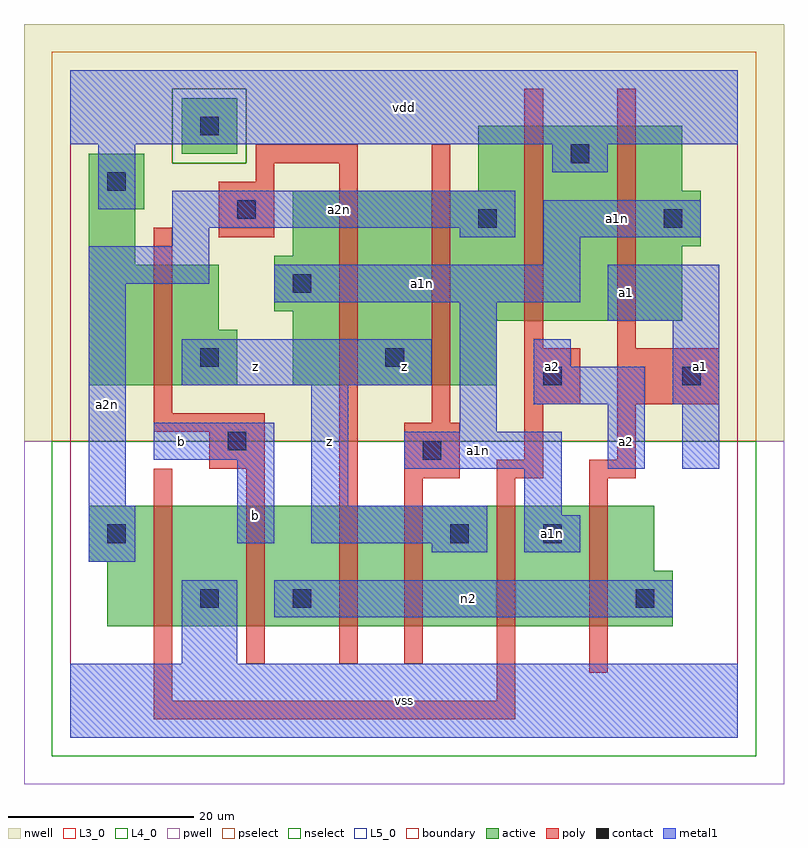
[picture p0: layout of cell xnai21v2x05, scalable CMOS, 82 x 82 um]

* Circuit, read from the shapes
.subckt xnai21v2x05 a1 a1n a2 a2n b n2 vdd vss z
M1 vss a2 a2n VSUBS nfet w=13u l=2u
M2 n2 b vss VSUBS nfet w=13u l=2u
M3 n1 a2n n2 VSUBS nfet w=13u l=2u
M4 z a1n n1 VSUBS nfet w=13u l=2u
M5 a1n a2 z VSUBS nfet w=13u l=2u
M6 n2 a1 a1n VSUBS nfet w=13u l=2u
M7 z b vdd vdd pfet w=13u l=2u
M8 z a2n a1n vdd pfet w=21u l=2u
M9 a2n a1n z vdd pfet w=21u l=2u
M10 vdd a2 a2n vdd pfet w=21u l=2u
M11 a1n a1 vdd vdd pfet w=21u l=2u
.ends

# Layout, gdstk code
import gdstk
lib = gdstk.Library(unit=1e-6, precision=1e-09)
def R(c, l, rs):  # rectangles x0, y0, x1, y1
    for r in rs: c.add(gdstk.rectangle(r[:2], r[2:], *l))
L3_0 = (3, 0)
L4_0 = (4, 0)
L5_0 = (5, 0)
contact = (25, 0)
pwell = (41, 0)
nwell = (42, 0)
active = (43, 0)
pselect = (44, 0)
nselect = (45, 0)
poly = (46, 0)
metal1 = (49, 0)
boundary = (63, 0)

xnai21v2x05 = lib.new_cell('xnai21v2x05')
R(xnai21v2x05, L3_0, [(4,12,65,18), (4,18,63,19), (2,19,63,25)])
R(xnai21v2x05, L4_0, [(2,38,18,44), (24,38,46,45), (2,44,16,51), (24,45,66,46), (22,46,66,52), (2,51,7,57), (24,52,66,53), (24,53,68,59), (2,57,8,63), (44,59,66,66)])
R(xnai21v2x05, L5_0, [(12,63,18,69)])
R(xnai21v2x05, contact, [(14,14,16,16), (24,14,26,16), (61,14,63,16), (4,21,6,23), (41,21,43,23), (51,21,53,23), (38,30,40,32), (17,31,19,33), (51,38,53,40), (66,38,68,40), (14,40,16,42), (34,40,36,42), (24,48,26,50), (44,55,46,57), (64,55,66,57), (18,56,20,58), (4,59,6,61), (54,62,56,64), (14,65,16,67)])
R(xnai21v2x05, pwell, [(-5,-5,77,32)])
R(xnai21v2x05, nwell, [(-5,32,77,77)])
R(xnai21v2x05, active, [(4,12,65,18), (4,18,63,19), (2,19,63,25), (2,38,18,44), (24,38,46,45), (2,44,16,51), (24,45,66,46), (22,46,66,52), (2,51,7,57), (24,52,66,53), (24,53,68,59), (2,57,8,63), (44,59,66,66), (12,63,18,69)])
R(xnai21v2x05, pselect, [(-2,32,74,62), (-2,62,11,70), (19,62,74,70), (-2,70,74,74)])
R(xnai21v2x05, nselect, [(-2,-2,74,32), (11,62,19,70)])
R(xnai21v2x05, poly, [(9,2,48,4), (9,4,11,29), (46,4,48,28), (56,7,58,28), (19,8,21,29), (29,8,31,62), (36,8,38,28), (36,28,42,34), (46,28,51,30), (56,28,61,30), (15,29,21,33), (49,30,51,36), (59,30,61,36), (9,33,21,35), (39,34,41,64), (9,35,11,55), (49,36,55,42), (59,36,70,42), (49,42,51,70), (59,42,61,70), (16,54,22,60), (20,60,22,62), (20,62,31,64)])
R(xnai21v2x05, metal1, [(0,0,72,8), (12,8,18,17), (22,13,65,17), (2,19,7,25), (39,20,45,21), (49,20,55,24), (18,21,22,30), (26,21,45,25), (49,24,53,29), (2,25,6,49), (26,25,30,38), (36,29,53,33), (58,29,62,36), (66,29,70,36), (9,30,22,34), (42,33,46,47), (50,36,62,40), (65,36,70,45), (12,38,39,43), (50,40,54,43), (58,45,70,51), (22,47,55,51), (2,49,15,53), (51,51,55,54), (11,53,15,55), (42,54,48,55), (51,54,68,58), (11,55,48,59), (3,57,7,64), (52,61,58,64), (0,64,72,72)])
R(xnai21v2x05, boundary, [(0,0,72,72)])
xnai21v2x05.add(gdstk.Label('a2n', (4,36), layer=49, texttype=0))
xnai21v2x05.add(gdstk.Label('a2n', (29,57), layer=49, texttype=0))
xnai21v2x05.add(gdstk.Label('n2', (43,15), layer=49, texttype=0))
xnai21v2x05.add(gdstk.Label('a1n', (52,22), layer=49, texttype=0))
xnai21v2x05.add(gdstk.Label('a1n', (44,31), layer=49, texttype=0))
xnai21v2x05.add(gdstk.Label('a1n', (38,49), layer=49, texttype=0))
xnai21v2x05.add(gdstk.Label('a1n', (59,56), layer=49, texttype=0))
xnai21v2x05.add(gdstk.Label('b', (12,32), layer=49, texttype=0))
xnai21v2x05.add(gdstk.Label('b', (20,24), layer=49, texttype=0))
xnai21v2x05.add(gdstk.Label('z', (28,32), layer=49, texttype=0))
xnai21v2x05.add(gdstk.Label('z', (20,40), layer=49, texttype=0))
xnai21v2x05.add(gdstk.Label('vss', (36,4), layer=49, texttype=0))
xnai21v2x05.add(gdstk.Label('a2', (52,40), layer=49, texttype=0))
xnai21v2x05.add(gdstk.Label('z', (36,40), layer=49, texttype=0))
xnai21v2x05.add(gdstk.Label('vdd', (36,68), layer=49, texttype=0))
xnai21v2x05.add(gdstk.Label('a2', (60,32), layer=49, texttype=0))
xnai21v2x05.add(gdstk.Label('a1', (68,40), layer=49, texttype=0))
xnai21v2x05.add(gdstk.Label('a1', (60,48), layer=49, texttype=0))

lib.write_gds('xnai21v2x05.gds')
